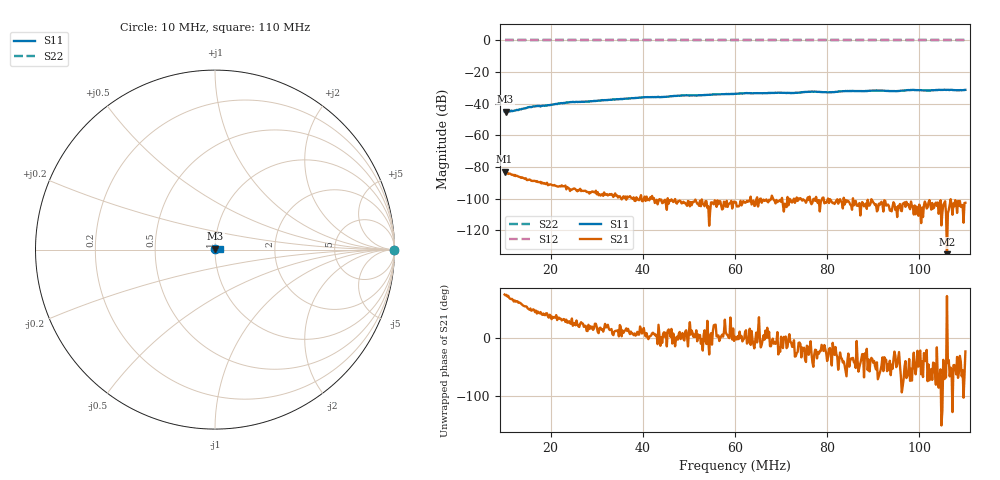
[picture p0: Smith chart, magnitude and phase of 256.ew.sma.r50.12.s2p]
! Anritsu VNA Master:  Model: MS2036C/10/77
! SN:  1601066
! /card0/usr/256.ew.sma.r50.12.s2p
! Existing Calibration Information:
! TYPE:  Current Settings,  Active Cal Settings
! TIME:  12/19/2017 02:34:14 PM,  12/19/2017 02:22:10 PM
! INTERNAL TEMP:  46.0 C,  45.0 C
! # POINTS:  501,  501
! START FREQ:  10.000 MHz,  10.000 MHz
! STOP FREQ:  110.000 MHz,  110.000 MHz
! SOURCE POWER:  High,  High
! IFBW:  100 Hz,  100 Hz
! AVG FACTOR:  1 ,  1
! REF PLANE 1:  0 mm,  0 mm
! REF PLANE 2:  0 mm,  0 mm
! CAL TYPE:  Full S11,  Full S11
! CAL METHOD:  SOLT,  SOLT
! CAL LINE TYPE:  Coax,  Coax
! DUT PORT 1:  N-Conn(F),  N-Conn(F)
! DUT PORT 2:  K-Conn(F),  K-Conn(F)
! CAL STATUS:  OK: Accuracy High,  --
# GHZ S RI R 50.0
! FREQ.GHZ  S11RE  S11IM  S21RE  S21IM  S12RE  S12IM  S22RE  S22IM
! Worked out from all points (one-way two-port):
!   501 points, 10 MHz to 110 MHz, reference 50 ohm
!   highest |S21| = -82.92 dB at 10 MHz (marker M1); lowest = -135.1 dB at 106 MHz (marker M2)
!   lowest |S11| = -45.0 dB at 10.2 MHz (marker M3), VSWR 1.01, Z = 50.2 + j0.518 ohm
!   |S11| at or under -10 dB: start of sweep to end of sweep
!   |S22| runs from 0.0 to 0.0 dB; largest |S21 - S12| = 1
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0.01  0.00254 0.00508  1.73e-05 6.93e-05  1 0  1 0
0.0102  0.00232 0.00516  1.85e-05 6.68e-05  1 0  1 0
0.012  0.00281 0.00534  2.37e-05 4.85e-05  1 0  1 0
0.0168  0.00434 0.00721  2.33e-05 2.6e-05  1 0  1 0
0.0194  0.00494 0.00751  2.11e-05 1.64e-05  1 0  1 0
0.0244  0.00637 0.00938  1.77e-05 8.22e-06  1 0  1 0
0.0268  0.00667 0.00949  1.61e-05 7.75e-06  1 0  1 0
0.0402  0.0109 0.0118  9.05e-06 2.89e-06  1 0  1 0
0.0434  0.0116 0.0118  7.71e-06 3.32e-06  1 0  1 0
0.0486  0.0136 0.0123  7.17e-06 1.14e-06  1 0  1 0
0.06  0.0167 0.0119  7.69e-06 3.45e-07  1 0  1 0
0.0692  0.019 0.0114  7.68e-06 1.43e-06  1 0  1 0
0.0724  0.0193 0.0103  7.35e-06 -1.98e-06  1 0  1 0
0.0768  0.0219 0.0107  5.56e-06 -4.98e-06  1 0  1 0
0.0804  0.0211 0.00896  6.9e-06 -2.36e-06  1 0  1 0
0.0844  0.0238 0.00844  6.81e-06 -5.44e-06  1 0  1 0
0.0904  0.0251 0.00741  4.11e-06 -4.75e-06  1 0  1 0
0.0934  0.0243 0.00711  3.31e-06 -4.85e-06  1 0  1 0
0.0984  0.0265 0.00545  1.62e-06 -5.64e-06  1 0  1 0
0.102  0.0259 0.00421  5.29e-06 -5.45e-06  1 0  1 0
0.106  0.0274 0.00337  5.05e-08 1.69e-07  1 0  1 0
0.11  0.0274 0.00099  6.84e-06 -2.92e-06  1 0  1 0
